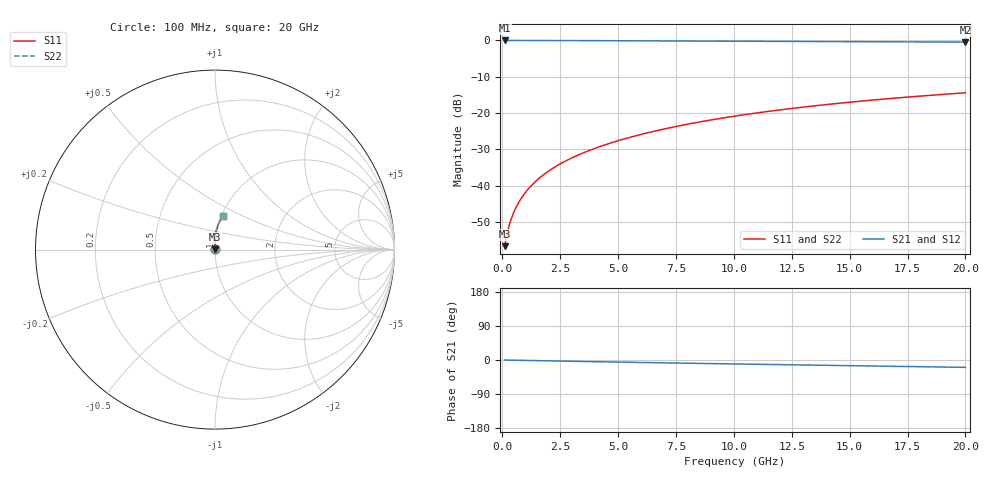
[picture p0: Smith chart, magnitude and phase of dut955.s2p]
! Touchstone file exported from HFSS 2024.1.0
!  File:  C:/UserFiles/LocalFiles/RDL_TSV_Batchsim/temp_RDL_top_955_1779938231.aedt
!  Generated:  11:19:29 AM May 28, 2026
!  Design:  RDL_top
!  Project:  temp_RDL_top_955_1779938231
!  Setup:  Setup1
!  Solution:  Sweep
! Variables:
!  dtsv = 10.80580581um
!  hbump = 3um
!  htsv = 55.67um
!  ldown = 100um
!  lrdl = 268.62um
!  p = 40
!  p1 = 46.62um
!  rhole = 1um
!  t = 450um
!  tdown = 3.915915916um
!  trdl = 4.09um
!  wdown = 15.38538539um
!  wrdl = 23.62um
# GHz S MA R 50.000000
! Terminal data exported
! Port[1] = Box2_T1
! Port[2] = Box2_T2
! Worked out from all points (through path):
!   200 points, 100 MHz to 20 GHz, reference 50 ohm
!   highest |S21| = -0.01 dB at 100 MHz (marker M1); lowest = -0.5 dB at 20 GHz (marker M2)
!   group delay of S21, straight-line fit = 2.66 ps
!   lowest |S11| = -56.6 dB at 100 MHz (marker M3), VSWR 1.00, Z = 50.1 + j0.0889 ohm
!   |S11| at or under -10 dB: start of sweep to end of sweep
!   |S22| runs from -56.6 to -14.4 dB; largest |S21 - S12| = 4e-15
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0.1  0.001479 36.9  0.9988 -0.1  0.9988 -0.1  0.001479 36.9
! Gamma 0 0 0 0
! Port Impedance 50 0 50 0
0.2  0.002139 54.4  0.9987 -0.2  0.9987 -0.2  0.002139 54.4
0.3  0.002868 62.9  0.9986 -0.4  0.9986 -0.4  0.002868 62.9
0.4  0.003605 67.9  0.9986 -0.5  0.9986 -0.5  0.003606 67.9
0.5  0.004345 71.3  0.9985 -0.6  0.9985 -0.6  0.004345 71.3
0.6  0.005088 73.9  0.9984 -0.7  0.9984 -0.7  0.005088 73.9
0.8  0.006589 77.6  0.9983 -0.9  0.9983 -0.9  0.00659 77.6
1.1  0.00888 81.1  0.998 -1.3  0.998 -1.3  0.008881 81.1
1.3  0.01043 82.6  0.9978 -1.5  0.9978 -1.5  0.01043 82.6
1.6  0.01278 84.4  0.9974 -1.8  0.9974 -1.8  0.01278 84.4
2.1  0.01677 86.4  0.9967 -2.4  0.9967 -2.4  0.01677 86.3
2.7  0.02167 87.9  0.9956 -3.1  0.9956 -3.1  0.02167 87.8
3.5  0.02842 89.1  0.9938 -3.9  0.9938 -3.9  0.02842 89.1
4.2  0.03452 89.7  0.992 -4.7  0.992 -4.7  0.03452 89.7
5  0.04171 90.0  0.9898 -5.5  0.9898 -5.5  0.04171 90.0
6.8  0.05867 89.9  0.9845 -7.4  0.9845 -7.4  0.05867 89.9
8.4  0.07441 89.0  0.9797 -8.9  0.9797 -8.9  0.07441 89.0
10.1  0.09153 87.6  0.9747 -10.5  0.9747 -10.5  0.09153 87.6
11.7  0.1078 86.0  0.9702 -12.0  0.9702 -12.0  0.1078 86.0
13.4  0.1251 84.3  0.9655 -13.5  0.9655 -13.5  0.1251 84.3
16.7  0.1583 80.7  0.9565 -16.5  0.9565 -16.5  0.1583 80.7
20  0.1905 77.2  0.9475 -19.4  0.9475 -19.4  0.1905 77.2
